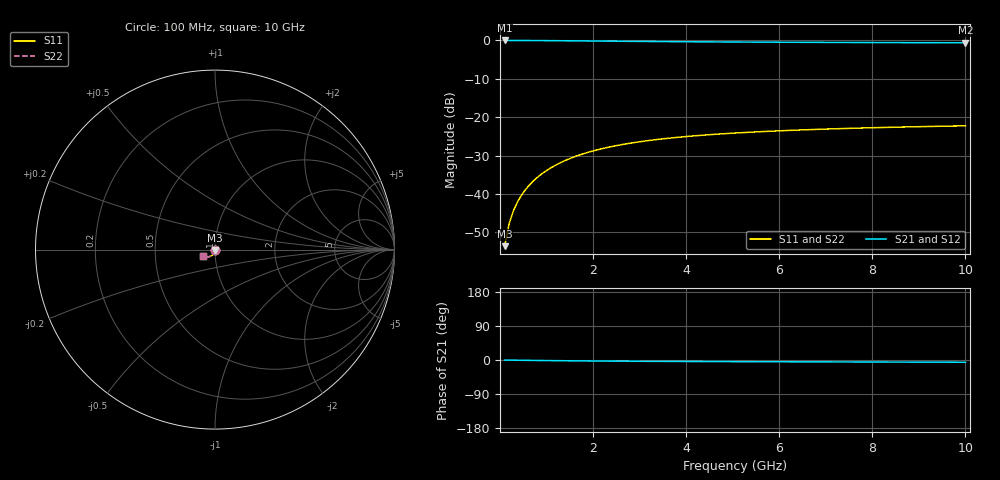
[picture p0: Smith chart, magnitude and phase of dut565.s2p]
! Touchstone file exported from HFSS 2024.1.0
!  File:  C:/UserFiles/LocalFiles/RDL_TSV_Batchsim/temp_TSV1_565_1779707730.aedt
!  Generated:  07:19:39 PM May 25, 2026
!  Design:  TSV1
!  Project:  temp_TSV1_565_1779707730
!  Setup:  Setup1
!  Solution:  Sweep
! Variables:
!  dtsv = 14.4um
!  hbump = 3um
!  htsv = 88.44um
!  lrdl = 252.1521522um
!  p = 40
!  p1 = 44.07um
!  t = 500um
!  trdl = 3um
!  wrdl = 24.89489489um
# GHz S MA R 50.000000
! Terminal data exported
! Port[1] = TSV22_T1
! Port[2] = TSV22_T2
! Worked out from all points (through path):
!   100 points, 100 MHz to 10 GHz, reference 50 ohm
!   highest |S21| = 0.00 dB at 100 MHz (marker M1); lowest = -0.6 dB at 10 GHz (marker M2)
!   lowest |S11| = -53.6 dB at 100 MHz (marker M3), VSWR 1.00, Z = 50 - j0.208 ohm
!   |S11| at or under -10 dB: start of sweep to end of sweep
!   |S22| runs from -53.6 to -22.3 dB; largest |S21 - S12| = 8.1e-15
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0.1  0.002084 -89.1  0.9998 -0.2  0.9998 -0.2  0.002084 -89.1
! Gamma 0 0 0 0
! Port Impedance 50 0 50 0
0.2  0.00417 -91.7  0.9997 -0.3  0.9997 -0.3  0.00417 -91.7
0.3  0.006254 -93.5  0.9994 -0.5  0.9994 -0.5  0.006254 -93.5
0.4  0.008327 -95.3  0.9989 -0.6  0.9989 -0.6  0.008327 -95.3
0.5  0.01038 -97.0  0.9984 -0.8  0.9984 -0.8  0.01038 -97.0
0.6  0.01241 -98.6  0.9978 -0.9  0.9978 -0.9  0.01241 -98.6
0.7  0.01441 -100.2  0.9971 -1.1  0.9971 -1.1  0.01441 -100.2
0.8  0.01637 -101.7  0.9964 -1.2  0.9964 -1.2  0.01637 -101.7
0.9  0.01829 -103.2  0.9955 -1.4  0.9955 -1.4  0.01829 -103.2
1.1  0.02201 -106.1  0.9937 -1.6  0.9937 -1.6  0.02201 -106.1
1.4  0.02723 -110.2  0.9905 -2.0  0.9905 -2.0  0.02723 -110.2
1.6  0.03046 -112.7  0.9882 -2.2  0.9882 -2.2  0.03046 -112.7
1.8  0.03349 -115.1  0.9858 -2.4  0.9858 -2.4  0.03349 -115.1
2.1  0.03766 -118.5  0.9822 -2.7  0.9822 -2.7  0.03766 -118.5
2.5  0.04258 -122.5  0.9774 -3.0  0.9774 -3.0  0.04258 -122.5
2.9  0.04683 -126.0  0.9729 -3.3  0.9729 -3.3  0.04683 -126.0
3.4  0.05138 -129.8  0.9677 -3.6  0.9677 -3.6  0.05138 -129.8
4.2  0.05725 -134.8  0.9604 -4.0  0.9604 -4.0  0.05725 -134.8
5.1  0.06237 -139.2  0.9537 -4.3  0.9537 -4.3  0.06237 -139.2
6.7  0.06898 -144.9  0.9446 -4.9  0.9446 -4.9  0.06898 -144.9
8.4  0.07384 -149.2  0.9377 -5.4  0.9377 -5.4  0.07384 -149.2
10  0.07717 -152.3  0.9329 -5.9  0.9329 -5.9  0.07717 -152.3
